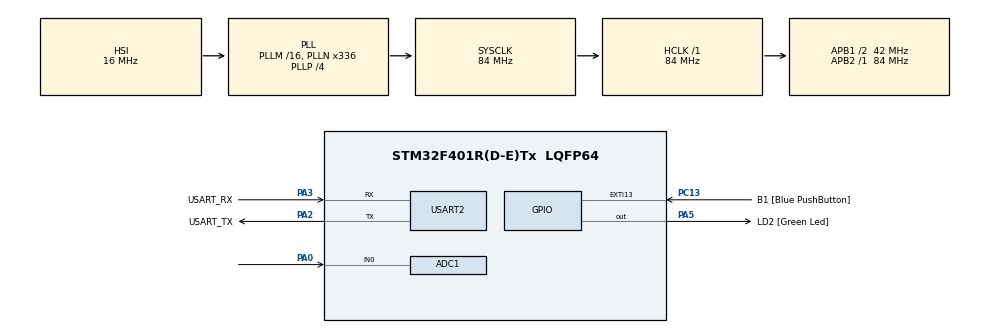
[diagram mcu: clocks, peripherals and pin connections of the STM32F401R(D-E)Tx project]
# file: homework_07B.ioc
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ADC1.Channel-0\#ChannelRegularConversion=ADC_CHANNEL_0
ADC1.DMAContinuousRequests=ENABLE
ADC1.ExternalTrigConv=ADC_EXTERNALTRIGCONV_T2_TRGO
ADC1.NbrOfConversionFlag=1
ADC1.Rank-0\#ChannelRegularConversion=1
ADC1.SamplingTime-0\#ChannelRegularConversion=ADC_SAMPLETIME_480CYCLES
ADC1.master=1
Dma.ADC1.0.Direction=DMA_PERIPH_TO_MEMORY
Dma.ADC1.0.FIFOMode=DMA_FIFOMODE_DISABLE
Dma.ADC1.0.Instance=DMA2_Stream0
Dma.ADC1.0.MemDataAlignment=DMA_MDATAALIGN_HALFWORD
Dma.ADC1.0.MemInc=DMA_MINC_ENABLE
Dma.ADC1.0.Mode=DMA_CIRCULAR
Dma.ADC1.0.PeriphDataAlignment=DMA_PDATAALIGN_HALFWORD
Dma.ADC1.0.PeriphInc=DMA_PINC_DISABLE
Dma.ADC1.0.Priority=DMA_PRIORITY_LOW
Dma.Request0=ADC1
Dma.Request1=USART2_TX
Dma.USART2_TX.1.Direction=DMA_MEMORY_TO_PERIPH
Dma.USART2_TX.1.FIFOMode=DMA_FIFOMODE_DISABLE
Dma.USART2_TX.1.Instance=DMA1_Stream6
Dma.USART2_TX.1.MemDataAlignment=DMA_MDATAALIGN_BYTE
Dma.USART2_TX.1.MemInc=DMA_MINC_ENABLE
Dma.USART2_TX.1.Mode=DMA_NORMAL
Dma.USART2_TX.1.PeriphDataAlignment=DMA_PDATAALIGN_BYTE
Dma.USART2_TX.1.PeriphInc=DMA_PINC_DISABLE
Dma.USART2_TX.1.Priority=DMA_PRIORITY_LOW
Mcu.Family=STM32F4
Mcu.Name=STM32F401R(D-E)Tx
Mcu.Package=LQFP64
NVIC.ADC_IRQn=true\:0\:0\:false\:false\:true\:true\:true\:true
NVIC.DMA1_Stream6_IRQn=true\:0\:0\:false\:false\:true\:false\:true\:true
NVIC.DMA2_Stream0_IRQn=true\:0\:0\:false\:false\:true\:false\:true\:true
NVIC.PriorityGroup=NVIC_PRIORITYGROUP_4
NVIC.USART2_IRQn=true\:0\:0\:false\:false\:true\:true\:true\:true
PA0-WKUP.Signal=ADCx_IN0
PA13.GPIO_Label=TMS
PA13.Mode=Trace_Asynchronous_SW
PA13.Signal=SYS_JTMS-SWDIO
PA14.GPIO_Label=TCK
PA14.Mode=Trace_Asynchronous_SW
PA14.Signal=SYS_JTCK-SWCLK
PA2.GPIO_Label=USART_TX
PA2.GPIO_Mode=GPIO_MODE_AF_PP
PA2.GPIO_PuPd=GPIO_NOPULL
PA2.GPIO_Speed=GPIO_SPEED_FREQ_LOW
PA2.Mode=Asynchronous
PA2.Signal=USART2_TX
PA3.GPIO_Label=USART_RX
PA3.GPIO_Mode=GPIO_MODE_AF_PP
PA3.GPIO_PuPd=GPIO_NOPULL
PA3.GPIO_Speed=GPIO_SPEED_FREQ_LOW
PA3.Mode=Asynchronous
PA3.Signal=USART2_RX
PA5.GPIO_Label=LD2 [Green Led]
PA5.GPIO_Mode=GPIO_MODE_OUTPUT_PP
PA5.GPIO_PuPd=GPIO_NOPULL
PA5.GPIO_Speed=GPIO_SPEED_FREQ_LOW
PA5.Signal=GPIO_Output
PB3.GPIO_Label=SWO
PB3.Mode=Trace_Asynchronous_SW
PB3.Signal=SYS_JTDO-SWO
PC13-ANTI_TAMP.GPIO_Label=B1 [Blue PushButton]
PC13-ANTI_TAMP.GPIO_ModeDefaultEXTI=GPIO_MODE_IT_FALLING
PC13-ANTI_TAMP.GPIO_PuPd=GPIO_NOPULL
PC13-ANTI_TAMP.Signal=GPXTI13
PC14-OSC32_IN.Mode=LSE-External-Oscillator
PC14-OSC32_IN.Signal=RCC_OSC32_IN
PC15-OSC32_OUT.Mode=LSE-External-Oscillator
PC15-OSC32_OUT.Signal=RCC_OSC32_OUT
PH0\ -\ OSC_IN.Mode=HSE-External-Clock-Source
PH0\ -\ OSC_IN.Signal=RCC_OSC_IN
PH1\ -\ OSC_OUT.Mode=HSE-External-Clock-Source
PH1\ -\ OSC_OUT.Signal=RCC_OSC_OUT
ProjectManager.HeapSize=0x200
ProjectManager.StackSize=0x400
ProjectManager.TargetToolchain=CMake
RCC.48MHZClocksFreq_Value=48000000
RCC.AHBFreq_Value=84000000
RCC.APB1CLKDivider=RCC_HCLK_DIV2
RCC.APB1Freq_Value=42000000
RCC.APB1TimFreq_Value=84000000
RCC.APB2Freq_Value=84000000
RCC.APB2TimFreq_Value=84000000
RCC.CortexFreq_Value=84000000
RCC.HCLKFreq_Value=84000000
RCC.HSE_VALUE=8000000
RCC.HSI_VALUE=16000000
RCC.PLLN=336
RCC.PLLP=RCC_PLLP_DIV4
RCC.PLLQ=7
RCC.SYSCLKFreq_VALUE=84000000
RCC.SYSCLKSource=RCC_SYSCLKSOURCE_PLLCLK
RCC.VCOOutputFreq_Value=336000000
SH.ADCx_IN0.0=ADC1_IN0,IN0
TIM2.Period=1000-1
TIM2.Prescaler=84-1
TIM2.TIM_MasterOutputTrigger=TIM_TRGO_UPDATE
USART2.VirtualMode=VM_ASYNC
VP_TIM2_VS_ClockSourceINT.Mode=Internal
board=NUCLEO-F401RE

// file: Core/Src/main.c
/* USER CODE BEGIN Header */
/**
  ******************************************************************************
  * @file           : main.c
  * @brief          : Main program body
  ******************************************************************************
  * @attention
  *
  * Copyright (c) 2026 STMicroelectronics.
  * All rights reserved.
  *
  * This software is licensed under terms that can be found in the LICENSE file
  * in the root directory of this software component.
  * If no LICENSE file comes with this software, it is provided AS-IS.
  *
  ******************************************************************************
  */
/* USER CODE END Header */
#include "main.h"

/* USER CODE BEGIN Includes */
#include "stdio.h"
#include "string.h"
#include "math.h"
/* USER CODE END Includes */

ADC_HandleTypeDef hadc1;
DMA_HandleTypeDef hdma_adc1;

TIM_HandleTypeDef htim2;

UART_HandleTypeDef huart2;
DMA_HandleTypeDef hdma_usart2_tx;

/* USER CODE BEGIN PV */
uint16_t adc_buffer[2000];
char msg[128];
float sum, volt, avg, ldr, lux;
int length, timer;
/* USER CODE END PV */

void SystemClock_Config(void);
static void MX_GPIO_Init(void);
static void MX_DMA_Init(void);
static void MX_ADC1_Init(void);
static void MX_USART2_UART_Init(void);
static void MX_TIM2_Init(void);

int main(void)
{

  /* MCU Configuration--------------------------------------------------------*/

  /* Reset of all peripherals, Initializes the Flash interface and the Systick. */
  HAL_Init();

  /* Configure the system clock */
  SystemClock_Config();

  /* Initialize all configured peripherals */
  MX_GPIO_Init();
  MX_DMA_Init();
  MX_ADC1_Init();
  MX_USART2_UART_Init();
  MX_TIM2_Init();
  /* USER CODE BEGIN 2 */
  HAL_TIM_Base_Start(&htim2);
  HAL_ADC_Start_DMA(&hadc1, (uint32_t*)adc_buffer, 2000);
  /* USER CODE END 2 */

  /* Infinite loop */
  while (1)
  {

  }
}

void SystemClock_Config(void)
{
  RCC_OscInitTypeDef RCC_OscInitStruct = {0};
  RCC_ClkInitTypeDef RCC_ClkInitStruct = {0};

  /** Configure the main internal regulator output voltage
  */
  __HAL_RCC_PWR_CLK_ENABLE();
  __HAL_PWR_VOLTAGESCALING_CONFIG(PWR_REGULATOR_VOLTAGE_SCALE2);

  /** Initializes the RCC Oscillators according to the specified parameters
  * in the RCC_OscInitTypeDef structure.
  */
  RCC_OscInitStruct.OscillatorType = RCC_OSCILLATORTYPE_HSI;
  RCC_OscInitStruct.HSIState = RCC_HSI_ON;
  RCC_OscInitStruct.HSICalibrationValue = RCC_HSICALIBRATION_DEFAULT;
  RCC_OscInitStruct.PLL.PLLState = RCC_PLL_ON;
  RCC_OscInitStruct.PLL.PLLSource = RCC_PLLSOURCE_HSI;
  RCC_OscInitStruct.PLL.PLLM = 16;
  RCC_OscInitStruct.PLL.PLLN = 336;
  RCC_OscInitStruct.PLL.PLLP = RCC_PLLP_DIV4;
  RCC_OscInitStruct.PLL.PLLQ = 7;
  if (HAL_RCC_OscConfig(&RCC_OscInitStruct) != HAL_OK)
  {
    Error_Handler();
  }

  /** Initializes the CPU, AHB and APB buses clocks
  */
  RCC_ClkInitStruct.ClockType = RCC_CLOCKTYPE_HCLK|RCC_CLOCKTYPE_SYSCLK
                              |RCC_CLOCKTYPE_PCLK1|RCC_CLOCKTYPE_PCLK2;
  RCC_ClkInitStruct.SYSCLKSource = RCC_SYSCLKSOURCE_PLLCLK;
  RCC_ClkInitStruct.AHBCLKDivider = RCC_SYSCLK_DIV1;
  RCC_ClkInitStruct.APB1CLKDivider = RCC_HCLK_DIV2;
  RCC_ClkInitStruct.APB2CLKDivider = RCC_HCLK_DIV1;

  if (HAL_RCC_ClockConfig(&RCC_ClkInitStruct, FLASH_LATENCY_2) != HAL_OK)
  {
    Error_Handler();
  }
}

static void MX_ADC1_Init(void)
{

  ADC_ChannelConfTypeDef sConfig = {0};

  /** Configure the global features of the ADC (Clock, Resolution, Data Alignment and number of conversion)
  */
  hadc1.Instance = ADC1;
  hadc1.Init.ClockPrescaler = ADC_CLOCK_SYNC_PCLK_DIV4;
  hadc1.Init.Resolution = ADC_RESOLUTION_12B;
  hadc1.Init.ScanConvMode = DISABLE;
  hadc1.Init.ContinuousConvMode = DISABLE;
  hadc1.Init.DiscontinuousConvMode = DISABLE;
  hadc1.Init.ExternalTrigConvEdge = ADC_EXTERNALTRIGCONVEDGE_RISING;
  hadc1.Init.ExternalTrigConv = ADC_EXTERNALTRIGCONV_T2_TRGO;
  hadc1.Init.DataAlign = ADC_DATAALIGN_RIGHT;
  hadc1.Init.NbrOfConversion = 1;
  hadc1.Init.DMAContinuousRequests = ENABLE;
  hadc1.Init.EOCSelection = ADC_EOC_SINGLE_CONV;
  if (HAL_ADC_Init(&hadc1) != HAL_OK)
  {
    Error_Handler();
  }

  /** Configure for the selected ADC regular channel its corresponding rank in the sequencer and its sample time.
  */
  sConfig.Channel = ADC_CHANNEL_0;
  sConfig.Rank = 1;
  sConfig.SamplingTime = ADC_SAMPLETIME_480CYCLES;
  if (HAL_ADC_ConfigChannel(&hadc1, &sConfig) != HAL_OK)
  {
    Error_Handler();
  }

}

static void MX_TIM2_Init(void)
{

  TIM_ClockConfigTypeDef sClockSourceConfig = {0};
  TIM_MasterConfigTypeDef sMasterConfig = {0};

  htim2.Instance = TIM2;
  htim2.Init.Prescaler = 84-1;
  htim2.Init.CounterMode = TIM_COUNTERMODE_UP;
  htim2.Init.Period = 1000-1;
  htim2.Init.ClockDivision = TIM_CLOCKDIVISION_DIV1;
  htim2.Init.AutoReloadPreload = TIM_AUTORELOAD_PRELOAD_DISABLE;
  if (HAL_TIM_Base_Init(&htim2) != HAL_OK)
  {
    Error_Handler();
  }
  sClockSourceConfig.ClockSource = TIM_CLOCKSOURCE_INTERNAL;
  if (HAL_TIM_ConfigClockSource(&htim2, &sClockSourceConfig) != HAL_OK)
  {
    Error_Handler();
  }
  sMasterConfig.MasterOutputTrigger = TIM_TRGO_UPDATE;
  sMasterConfig.MasterSlaveMode = TIM_MASTERSLAVEMODE_DISABLE;
  if (HAL_TIMEx_MasterConfigSynchronization(&htim2, &sMasterConfig) != HAL_OK)
  {
    Error_Handler();
  }

}

static void MX_USART2_UART_Init(void)
{

  huart2.Instance = USART2;
  huart2.Init.BaudRate = 115200;
  huart2.Init.WordLength = UART_WORDLENGTH_8B;
  huart2.Init.StopBits = UART_STOPBITS_1;
  huart2.Init.Parity = UART_PARITY_NONE;
  huart2.Init.Mode = UART_MODE_TX_RX;
  huart2.Init.HwFlowCtl = UART_HWCONTROL_NONE;
  huart2.Init.OverSampling = UART_OVERSAMPLING_16;
  if (HAL_UART_Init(&huart2) != HAL_OK)
  {
    Error_Handler();
  }

}

static void MX_DMA_Init(void)
{

  /* DMA controller clock enable */
  __HAL_RCC_DMA2_CLK_ENABLE();
  __HAL_RCC_DMA1_CLK_ENABLE();

  /* DMA interrupt init */
  /* DMA1_Stream6_IRQn interrupt configuration */
  HAL_NVIC_SetPriority(DMA1_Stream6_IRQn, 0, 0);
  HAL_NVIC_EnableIRQ(DMA1_Stream6_IRQn);
  /* DMA2_Stream0_IRQn interrupt configuration */
  HAL_NVIC_SetPriority(DMA2_Stream0_IRQn, 0, 0);
  HAL_NVIC_EnableIRQ(DMA2_Stream0_IRQn);

}

static void MX_GPIO_Init(void)
{
  GPIO_InitTypeDef GPIO_InitStruct = {0};

  /* GPIO Ports Clock Enable */
  __HAL_RCC_GPIOC_CLK_ENABLE();
  __HAL_RCC_GPIOH_CLK_ENABLE();
  __HAL_RCC_GPIOA_CLK_ENABLE();
  __HAL_RCC_GPIOB_CLK_ENABLE();

  /*Configure GPIO pin Output Level */
  HAL_GPIO_WritePin(LD2_GPIO_Port, LD2_Pin, GPIO_PIN_RESET);

  /*Configure GPIO pin : B1_Pin */
  GPIO_InitStruct.Pin = B1_Pin;
  GPIO_InitStruct.Mode = GPIO_MODE_IT_FALLING;
  GPIO_InitStruct.Pull = GPIO_NOPULL;
  HAL_GPIO_Init(B1_GPIO_Port, &GPIO_InitStruct);

  /*Configure GPIO pin : LD2_Pin */
  GPIO_InitStruct.Pin = LD2_Pin;
  GPIO_InitStruct.Mode = GPIO_MODE_OUTPUT_PP;
  GPIO_InitStruct.Pull = GPIO_NOPULL;
  GPIO_InitStruct.Speed = GPIO_SPEED_FREQ_LOW;
  HAL_GPIO_Init(LD2_GPIO_Port, &GPIO_InitStruct);

}

/* USER CODE BEGIN 4 */
void process_adc_data(int start, int end)
{
  sum = 0;
  for (int i = start; i < end; i++) {
    sum += (float)adc_buffer[i];
  }
  avg = sum / 1000;
  volt = avg * 3.3 / 4095;
  ldr = (volt * 100000) / (3.3 - volt);
  lux = 10 * pow((100000 / ldr), 1.25);
  length = snprintf(msg, sizeof(msg), "Average LDR: %.2f Ohms - Luminosity: %.2f Lux\r\n", ldr, lux);
  HAL_UART_Transmit_DMA(&huart2, (uint8_t*)msg, length);
}

void HAL_ADC_ConvHalfCpltCallback(ADC_HandleTypeDef* hadc)
{
    if (hadc == &hadc1) {
      process_adc_data(0, 1000);
    }
}

void HAL_ADC_ConvCpltCallback(ADC_HandleTypeDef* hadc)
{
    if (hadc == &hadc1) {
      process_adc_data(1000, 2000);
    }
}
/* USER CODE END 4 */

void Error_Handler(void)
{
  __disable_irq();
  while (1)
  {
  }
}
